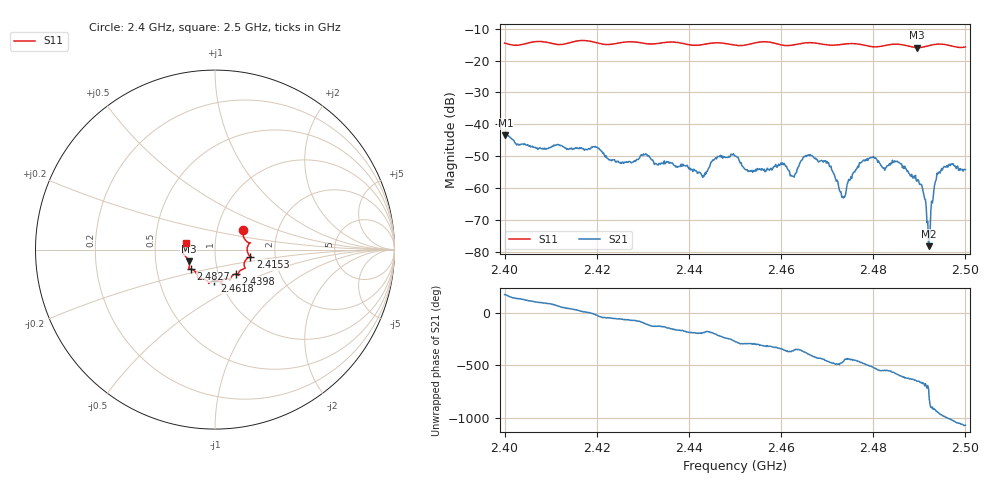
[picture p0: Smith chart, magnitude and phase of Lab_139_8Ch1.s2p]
# Hz S RI R 50
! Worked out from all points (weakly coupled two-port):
!   601 points, 2.4 GHz to 2.5 GHz, reference 50 ohm
!   highest |S21| = -43.47 dB at 2.4002 GHz (marker M1); lowest = -78.3 dB at 2.492 GHz (marker M2)
!   lowest |S11| = -15.9 dB at 2.4895 GHz (marker M3), VSWR 1.38, Z = 37 - j5.02 ohm
!   |S11| at or under -10 dB: start of sweep to end of sweep
!   S12 and S22 are empty: the file has one direction only
!   S11 on the Smith chart (normalised r, x): 2.4 GHz: 1.33, +0.30; 2.4153 GHz: 1.48, -0.12; 2.4398 GHz: 1.21, -0.34; 2.4618 GHz: 0.94, -0.33; 2.4827 GHz: 0.75, -0.17; 2.5 GHz: 0.72, +0.06
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2.4e9  0.1553 0.1071  -0.00651 0.000331  0 0  0 0
2.400167e9  0.1549 0.1049  -0.00668 0.000572  0 0  0 0
2.415333e9  0.1967 -0.0396  0.00359 0.00225  0 0  0 0
2.416667e9  0.2024 -0.0437  0.00407 0.00134  0 0  0 0
2.433333e9  0.1298 -0.1336  -0.00127 -0.00192  0 0  0 0
2.439833e9  0.1156 -0.136  -0.00209 0.000117  0 0  0 0
2.443167e9  0.088 -0.1563  -0.00157 0.000162  0 0  0 0
2.446e9  0.0844 -0.1707  -0.00258 0.00125  0 0  0 0
2.45e9  0.0653 -0.1622  8.12e-05 0.0032  0 0  0 0
2.452667e9  0.0401 -0.1735  0.000748 0.00179  0 0  0 0
2.461833e9  -0.00347 -0.1728  0.00179 -0.000197  0 0  0 0
2.466667e9  -0.0347 -0.1879  0.00213 -0.0024  0 0  0 0
2.470333e9  -0.0509 -0.1682  -0.000661 -0.00239  0 0  0 0
2.4735e9  -0.085 -0.16  -0.000167 -0.000678  0 0  0 0
2.4775e9  -0.0976 -0.1491  -0.00103 -0.00233  0 0  0 0
2.482667e9  -0.1349 -0.1086  -0.00204 0.000397  0 0  0 0
2.483333e9  -0.1401 -0.1082  -0.00221 0.000455  0 0  0 0
2.4895e9  -0.1458 -0.0661  0.000509 0.00117  0 0  0 0
2.490833e9  -0.1562 -0.0475  0.000572 0.000687  0 0  0 0
2.492e9  -0.1676 -0.0343  0.000122 5.68e-07  0 0  0 0
2.494333e9  -0.1805 -0.0216  -0.000833 0.00157  0 0  0 0
2.5e9  -0.1592 0.0384  0.00194 0.000197  0 0  0 0
